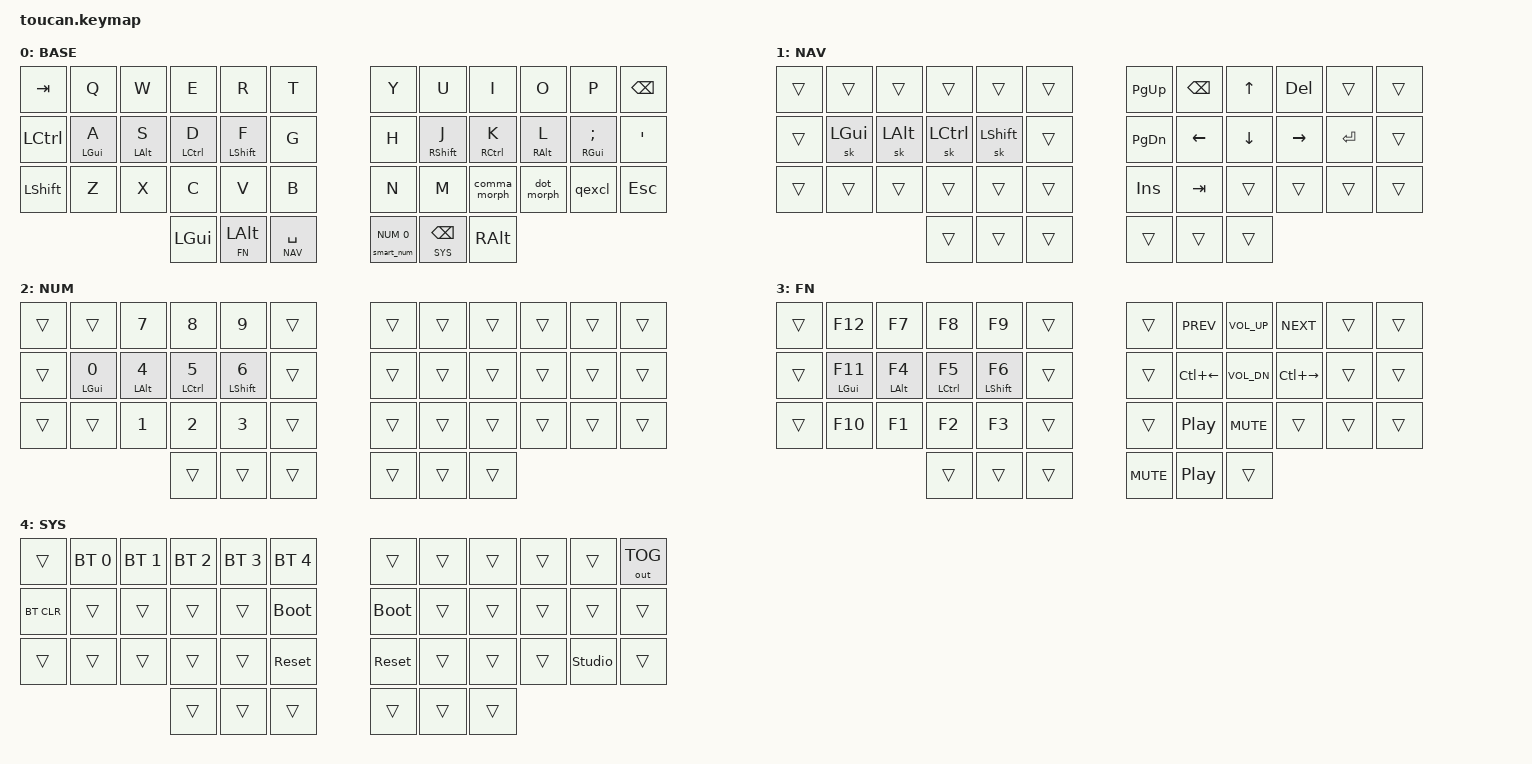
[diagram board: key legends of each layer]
#include <behaviors.dtsi>
#include <dt-bindings/zmk/keys.h>
#include <dt-bindings/zmk/bt.h>
#include <dt-bindings/zmk/outputs.h>
#include <zmk-helpers/helper.h>
#include <zmk-helpers/key-labels/42.h>
#include <behaviors/num_word.dtsi>

/* ── Layer indices ─────────────────────────────────────────────────────────── */
#define BASE 0
#define NAV  1
#define NUM  2
#define FN   3
#define SYS  4

/* ── Readability shorthand ─────────────────────────────────────────────────── */
#define ___ &trans

/* ── Key-position groups (42-key Corne-style: 6 cols × 3 rows + 3 thumbs/side)
 *
 *  LT5 LT4 LT3 LT2 LT1 LT0  RT0 RT1 RT2 RT3 RT4 RT5
 *  LM5 LM4 LM3 LM2 LM1 LM0  RM0 RM1 RM2 RM3 RM4 RM5
 *  LB5 LB4 LB3 LB2 LB1 LB0  RB0 RB1 RB2 RB3 RB4 RB5
 *          LH2 LH1 LH0       RH0 RH1 RH2
 * ─────────────────────────────────────────────────── */
#define KEYS_L LT0 LT1 LT2 LT3 LT4 LT5  LM0 LM1 LM2 LM3 LM4 LM5  LB0 LB1 LB2 LB3 LB4 LB5
#define KEYS_R RT0 RT1 RT2 RT3 RT4 RT5  RM0 RM1 RM2 RM3 RM4 RM5  RB0 RB1 RB2 RB3 RB4 RB5
#define THUMBS LH0 LH1 LH2 RH0 RH1 RH2

/* ── Timerless home-row mod (HRM) helpers ──────────────────────────────────── */
#define QUICK_TAP_MS 175

#define MAKE_HRM(NAME, HOLD, TAP, TRIGGER_POS) \
    ZMK_HOLD_TAP(NAME,                          \
        bindings = <HOLD>, <TAP>;               \
        flavor = "balanced";                     \
        tapping-term-ms = <280>;                 \
        quick-tap-ms = <QUICK_TAP_MS>;           \
        require-prior-idle-ms = <150>;           \
        hold-trigger-on-release;                 \
        hold-trigger-key-positions = <TRIGGER_POS>;)

MAKE_HRM(hml, &kp, &kp, KEYS_R THUMBS)  /* left-hand HRMs  */
MAKE_HRM(hmr, &kp, &kp, KEYS_L THUMBS)  /* right-hand HRMs */

/* ── Shift morphs (from urob) ────────────────────────────────────────────────
 *  , + Shift → ;    . + Shift → :    ? + Shift → !
 */
#define SIMPLE_MORPH(NAME, MOD, BINDING1, BINDING2)                            \
  ZMK_MOD_MORPH(NAME, mods = <(MOD_L##MOD | MOD_R##MOD)>;                     \
                bindings = <BINDING1>, <BINDING2>;)

SIMPLE_MORPH(comma_morph, SFT, &kp COMMA, &kp SEMICOLON)
SIMPLE_MORPH(dot_morph,    SFT, &kp DOT,   &kp COLON)
SIMPLE_MORPH(qexcl,        SFT, &kp QMARK, &kp EXCL)

/* ── Smart num (numsword) ────────────────────────────────────────────────────
 *  Tap:       num-word (temporary NUM for one word/sequence)
 *  Double-tap: sticky NUM layer
 *  Hold:       NUM layer
 */
#define SMART_NUM &smart_num NUM 0
ZMK_HOLD_TAP(smart_num, bindings = <&mo>, <&num_dance>; flavor = "balanced";
             tapping-term-ms = <200>; quick-tap-ms = <175>;)
ZMK_TAP_DANCE(num_dance, bindings = <&num_word NUM>, <&sl NUM>;
              tapping-term-ms = <200>;)

/* ── Conditional layer: FN + NUM = SYS ─────────────────────────────────────── */
ZMK_CONDITIONAL_LAYER(sys, FN NUM, SYS)

/ {
    keymap {
        compatible = "zmk,keymap";

        /* BASE — QWERTY with timerless home-row mods (GACS order, pinky→index)
         *
         *  Thumb cluster:
         *    L0: LGUI          L1: FN/LALT       L2: NAV/SPACE
         *    R0: SMART_NUM     R1: SYS/BSPC      R2: RALT
         *
         *  Punctuation morphs on bottom row: , → ; . → : ? → !
         *  Outer columns (LCTRL/LSHFT/BSPC/SQT/ESC) are kept for direct access
         *  alongside the HRMs on the inner home row.
         */
        base {
            display-name = "BASE";
            bindings = <
// ╭──────────┬──────────────────┬──────────────────┬──────────────────┬──────────────────┬─────────╮ ╭─────────┬──────────────────┬──────────────────┬───────────────┬──────────────────┬──────────╮
   &kp TAB     &kp Q              &kp W              &kp E              &kp R              &kp T       &kp Y     &kp U              &kp I              &kp O           &kp P              &kp BSPC
// ├──────────┼──────────────────┼──────────────────┼──────────────────┼──────────────────┼─────────┤ ├─────────┼──────────────────┼──────────────────┼───────────────┼──────────────────┼──────────┤
   &kp LCTRL   &hml LGUI A        &hml LALT S        &hml LCTRL D       &hml LSHFT F       &kp G       &kp H     &hmr RSHFT J       &hmr RCTRL K       &hmr RALT L     &hmr RGUI SEMI     &kp SQT
// ├──────────┼──────────────────┼──────────────────┼──────────────────┼──────────────────┼─────────┤ ├─────────┼──────────────────┼──────────────────┼───────────────┼──────────────────┼──────────┤
   &kp LSHFT   &kp Z              &kp X              &kp C              &kp V              &kp B       &kp N     &kp M              &comma_morph       &dot_morph      &qexcl             &kp ESC
// ╰──────────┴──────────────────┴──────────────────┼──────────────────┼──────────────────┼─────────┤ ├─────────┼──────────────────┼──────────────────┼───────────────┴──────────────────┴──────────╯
                                                      &kp LGUI           &lt FN LALT        &lt NAV SPACE   &smart_num NUM 0   &lt SYS BSPC   &kp RALT
//                                                  ╰──────────────────┴──────────────────┴─────────╯ ╰─────────┴──────────────────┴──────────────────╯
            >;
        };

        /* NAV — navigation + one-shot mods
         *
         *  Left side: sticky mods for chorded nav (e.g. sk LSHFT → RIGHT = Shift+Right)
         *  Right side: arrow cluster, page up/down, backspace, delete, insert, tab, enter
         *  Outer columns fall through to BASE (TAB / LCTRL / LSHFT / BSPC / SQT / ESC).
         */
        nav {
            display-name = "NAV";
            bindings = <
// ╭──────────┬─────────┬─────────┬──────────┬──────────┬─────╮ ╭───────────┬──────────┬──────────┬───────────┬─────────┬──────────╮
   ___          ___       ___       ___         ___        ___    &kp PG_UP   &kp BSPC   &kp UP     &kp DEL     ___       ___
// ├──────────┼─────────┼─────────┼──────────┼──────────┼─────┤ ├───────────┼──────────┼──────────┼───────────┼─────────┼──────────┤
   ___          &sk LGUI  &sk LALT  &sk LCTRL   &sk LSHFT  ___    &kp PG_DN   &kp LEFT   &kp DOWN   &kp RIGHT   &kp RET   ___
// ├──────────┼─────────┼─────────┼──────────┼──────────┼─────┤ ├───────────┼──────────┼──────────┼───────────┼─────────┼──────────┤
   ___          ___       ___       ___         ___        ___    &kp INS     &kp TAB    ___        ___         ___       ___
// ╰──────────┴─────────┴─────────┼──────────┼──────────┼─────┤ ├───────────┼──────────┼──────────┼───────────┴─────────┴──────────╯
                                    ___         ___        ___    ___         ___        ___
//                                 ╰──────────┴──────────┴─────╯ ╰───────────┴──────────┴──────────╯
            >;
        };

        /* NUM — numpad-style numbers with HRMs for modifier access */
        num {
            display-name = "NUM";
            bindings = <
// ╭──────────┬─────┬──────────┬──────────┬──────────┬─────╮ ╭─────┬─────┬─────┬─────┬─────┬──────────╮
   ___          ___   &kp N7    &kp N8     &kp N9     ___    ___   ___   ___   ___   ___   ___
// ├──────────┼─────┼──────────┼──────────┼──────────┼─────┤ ├─────┼─────┼─────┼─────┼─────┼──────────┤
   ___          &hml LGUI N0   &hml LALT N4   &hml LCTRL N5   &hml LSHFT N6   ___    ___   ___   ___   ___   ___   ___
// ├──────────┼─────┼──────────┼──────────┼──────────┼─────┤ ├─────┼─────┼─────┼─────┼─────┼──────────┤
   ___          ___   &kp N1    &kp N2     &kp N3     ___    ___   ___   ___   ___   ___   ___
// ╰──────────┴─────┴──────────┼──────────┼──────────┼─────┤ ├─────┼─────┼─────┼─────┴─────┴──────────╯
                                ___        ___        ___    ___   ___   ___
//                             ╰──────────┴──────────┴─────╯ ╰─────┴─────┴─────╯
            >;
        };

        /* FN — function keys + media controls
         *
         *  Left side: F1–F12 with HRMs for modifier access
         *  Right side: media prev/next/vol, desktop prev/next (LC/RC arrow)
         *  Right thumbs: mute + play/pause while FN is held
         */
        fn {
            display-name = "FN";
            bindings = <
// ╭──────────┬──────────┬──────────┬──────────┬──────────┬─────╮ ╭─────┬───────────┬────────────┬────────────┬─────┬──────────╮
   ___          &kp F12    &kp F7     &kp F8     &kp F9     ___    ___   &kp C_PREV   &kp C_VOL_UP  &kp C_NEXT   ___   ___
// ├──────────┼──────────┼──────────┼──────────┼──────────┼─────┤ ├─────┼───────────┼────────────┼────────────┼─────┼──────────┤
   ___          &hml LGUI F11   &hml LALT F4   &hml LCTRL F5   &hml LSHFT F6   ___    ___   &kp LC(LEFT)   &kp C_VOL_DN   &kp LC(RIGHT)   ___   ___
// ├──────────┼──────────┼──────────┼──────────┼──────────┼─────┤ ├─────┼───────────┼────────────┼────────────┼─────┼──────────┤
   ___          &kp F10    &kp F1     &kp F2     &kp F3     ___    ___   &kp C_PP    &kp C_MUTE   ___          ___   ___
// ╰──────────┴──────────┴──────────┼──────────┼──────────┼─────┤ ├─────┼───────────┼────────────┼────────────┴─────┴──────────╯
                                      ___        ___        ___    &kp C_MUTE   &kp C_PP   ___
//                                   ╰──────────┴──────────┴─────╯ ╰───────────┴────────────┴────────────╯
            >;
        };

        /* SYS — Bluetooth profile selection + system controls */
        sys {
            display-name = "SYS";
            bindings = <
// ╭──────────┬──────────────┬──────────────┬──────────────┬──────────────┬──────────────╮ ╭─────┬─────┬─────┬─────┬─────┬──────────────╮
   ___          &bt BT_SEL 0   &bt BT_SEL 1   &bt BT_SEL 2   &bt BT_SEL 3   &bt BT_SEL 4   ___   ___   ___   ___   ___   &out OUT_TOG
// ├──────────┼──────────────┼──────────────┼──────────────┼──────────────┼──────────────┤ ├─────┼─────┼─────┼─────┼─────┼──────────────┤
   &bt BT_CLR   ___            ___            ___            ___            &bootloader      &bootloader   ___   ___   ___   ___   ___
// ├──────────┼──────────────┼──────────────┼──────────────┼──────────────┼──────────────┤ ├─────┼─────┼─────┼─────┼──────────────┼──────────────┤
   ___          ___            ___            ___            ___            &sys_reset       &sys_reset   ___   ___   ___   &studio_unlock   ___
// ╰──────────┴──────────────┴──────────────┼──────────────┼──────────────┼──────────────┤ ├─────┼─────┼─────┼─────┴──────────────┴──────────────╯
                                              ___            ___            ___              ___   ___   ___
//                                           ╰──────────────┴──────────────┴──────────────╯ ╰─────┴─────┴─────╯
            >;
        };

        extra_1 {
                status = "reserved";
        };

        extra_2 {
                status = "reserved";
        };

        extra_3 {
                status = "reserved";
        };
    };
};
